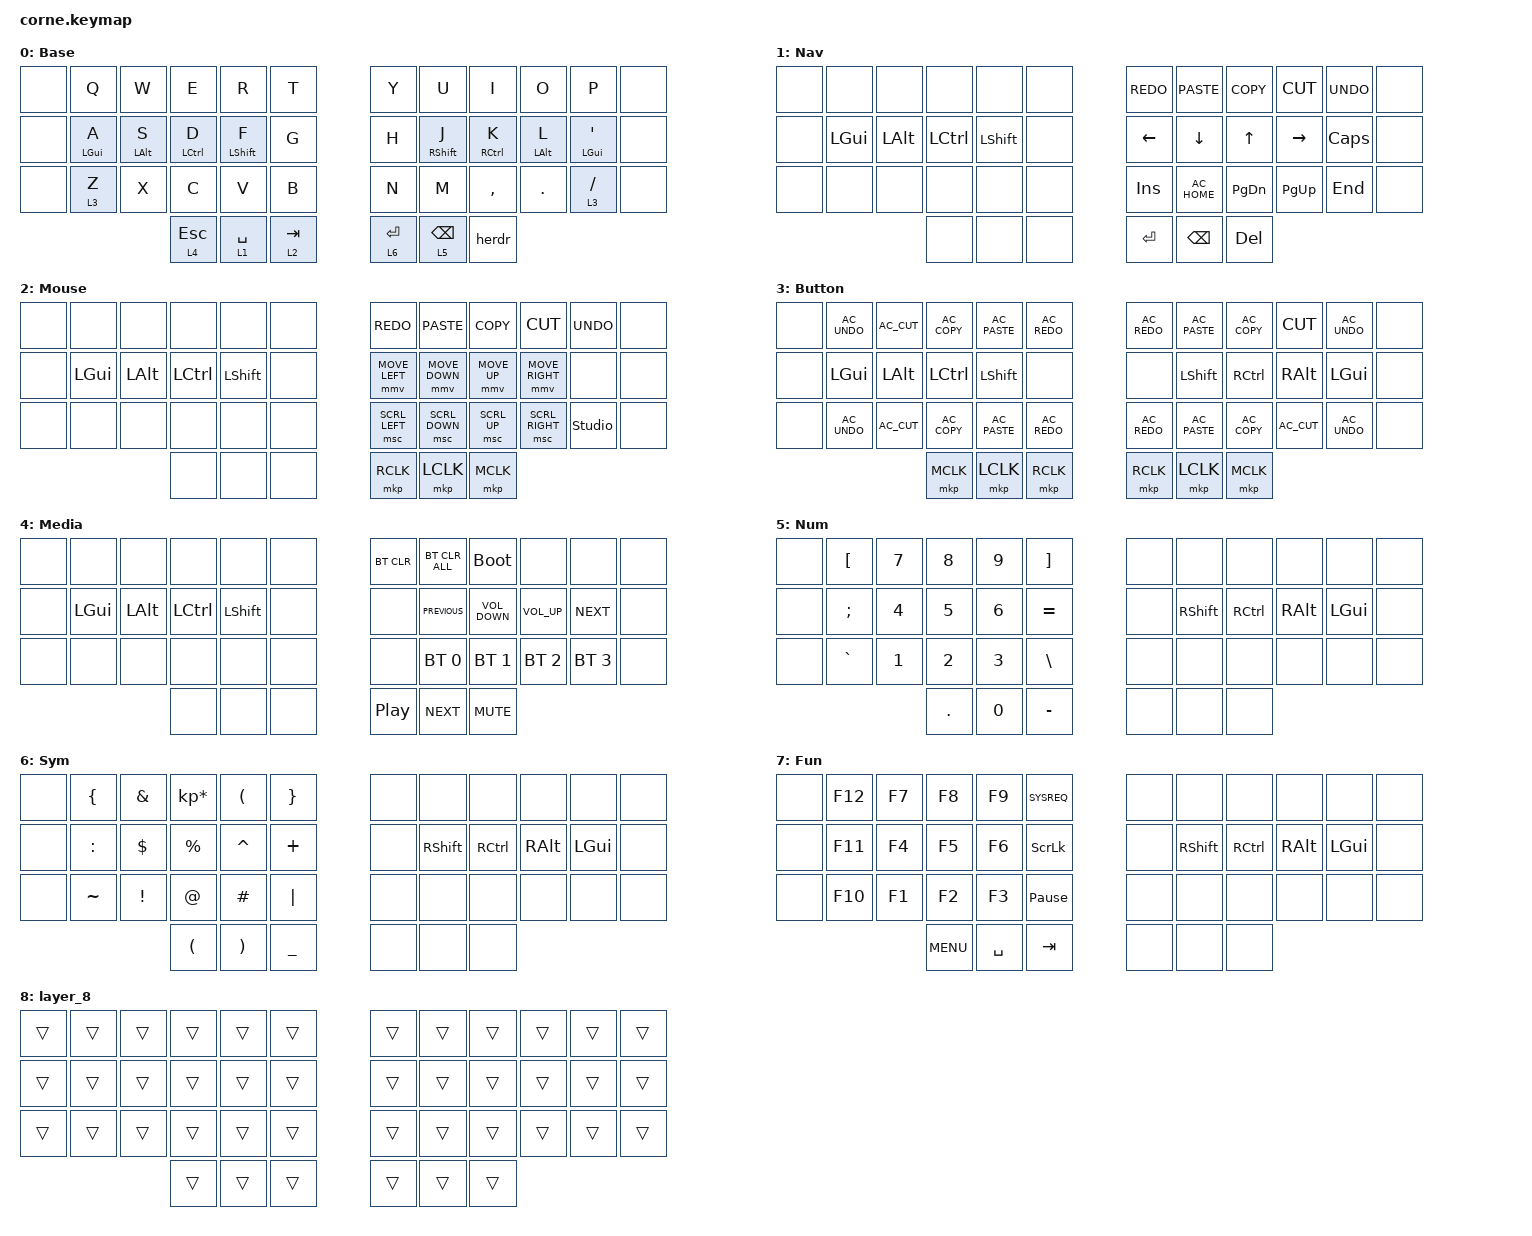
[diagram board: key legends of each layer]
/*
 * Copyright (c) 2020 The ZMK Contributors
 *
 * SPDX-License-Identifier: MIT
 */

#include <behaviors.dtsi>
#include <dt-bindings/zmk/bt.h>
#include <dt-bindings/zmk/keys.h>
#include <dt-bindings/zmk/pointing.h>

/ {
    behaviors {
        hml: homewrow_mods_left {
            compatible = "zmk,behavior-hold-tap";
            label = "HOMEROW_MODS_LEFT_HAND";
            bindings = <&kp>, <&kp>;

            #binding-cells = <2>;
            tapping-term-ms = <280>;
            hold-trigger-key-positions = <39 40 41 19 30 18 6 9 20 32 31 7 8 21 33 34 35 22 23 11 10>;
            flavor = "balanced";
            hold-trigger-on-release;
            quick-tap-ms = <175>;
            require-prior-idle-ms = <150>;
        };

        hmr: homewrow_mods_right {
            compatible = "zmk,behavior-hold-tap";
            label = "HOMEROW_MODS_RIGHT_HAND";
            bindings = <&kp>, <&kp>;

            #binding-cells = <2>;
            tapping-term-ms = <280>;
            hold-trigger-key-positions = <0 0 1 1 2 2 16 28 37 38 29 17 4 4 5 3 14 12 13 27 15 26 25 24 36>;
            flavor = "balanced";
            hold-trigger-on-release;
            quick-tap-ms = <175>;
            require-prior-idle-ms = <150>;
        };

        herdr: herdr {
            compatible = "zmk,behavior-tap-dance";
            label = "HERDR";
            #binding-cells = <0>;
            tapping-term-ms = <200>;
            bindings = <&lt 7 DEL>, <&kp LC(SPACE)>;
        };
    };

    combos {
        compatible = "zmk,combos";

        vm_prefix {
            bindings = <&kp LC(B)>;
            key-positions = <41 34>;
        };
    };

    keymap {
        compatible = "zmk,keymap";

        base_layer {
            // -----------------------------------------------------------------------------------------
            // |  TAB |  Q  |  W  |  E  |  R  |  T  |   |  Y  |  U   |  I  |  O  |  P  | BKSP |
            // | CTRL |  A  |  S  |  D  |  F  |  G  |   |  H  |  J   |  K  |  L  |  ;  |  '   |
            // | SHFT |  Z  |  X  |  C  |  V  |  B  |   |  N  |  M   |  ,  |  .  |  /  | ESC  |
            //                    | GUI | LWR | SPC |   | ENT | RSE  | ALT |

            bindings = <
&none  &kp Q        &kp W            &kp E         &kp R              &kp T        &kp Y        &kp U               &kp I         &kp O        &kp P          &none
&none  &hml LGUI A  &hml LEFT_ALT S  &hml LCTRL D  &hml LEFT_SHIFT F  &kp G        &kp H        &hmr RIGHT_SHIFT J  &hmr RCTRL K  &hmr LALT L  &hmr LGUI SQT  &none
&none  &lt 3 Z      &kp X            &kp C         &kp V              &kp B        &kp N        &kp M               &kp COMMA     &kp DOT      &lt 3 SLASH    &none
                                     &lt 4 ESC     &lt 1 SPACE        &lt 2 TAB    &lt 6 ENTER  &lt 5 BACKSPACE     &herdr
            >;

            label = "Base";
        };

        nav_layer {
            bindings = <
&none  &none     &none         &none      &none           &none    &kp K_REDO      &kp K_PASTE     &kp K_COPY     &kp K_CUT    &kp K_UNDO    &none
&none  &kp LGUI  &kp LEFT_ALT  &kp LCTRL  &kp LEFT_SHIFT  &none    &kp LEFT_ARROW  &kp DOWN_ARROW  &kp UP_ARROW   &kp RIGHT    &kp CAPSLOCK  &none
&none  &none     &none         &none      &none           &none    &kp INSERT      &kp C_AC_HOME   &kp PAGE_DOWN  &kp PAGE_UP  &kp END       &none
                               &none      &none           &none    &kp ENTER       &kp BACKSPACE   &kp DELETE
            >;

            label = "Nav";
        };

        mouse_layer {
            // -----------------------------------------------------------------------------------------
            // |  TAB |  1  |  2  |  3  |  4  |  5  |   |  6  |  7  |  8  |  9  |  0  | BKSP |
            // | BTCLR| BT1 | BT2 | BT3 | BT4 | BT5 |   | LFT | DWN |  UP | RGT |     |      |
            // | SHFT |     |     |     |     |     |   |     |     |     |     |     |      |
            //                    | GUI |     | SPC |   | ENT |     | ALT |

            bindings = <
&none  &none     &none         &none      &none           &none    &kp K_REDO      &kp K_PASTE     &kp K_COPY    &kp K_CUT        &kp K_UNDO      &none
&none  &kp LGUI  &kp LEFT_ALT  &kp LCTRL  &kp LEFT_SHIFT  &none    &mmv MOVE_LEFT  &mmv MOVE_DOWN  &mmv MOVE_UP  &mmv MOVE_RIGHT  &none           &none
&none  &none     &none         &none      &none           &none    &msc SCRL_LEFT  &msc SCRL_DOWN  &msc SCRL_UP  &msc SCRL_RIGHT  &studio_unlock  &none
                               &none      &none           &none    &mkp RCLK       &mkp LCLK       &mkp MCLK
            >;

            label = "Mouse";
        };

        button_layer {
            bindings = <
&none  &kp C_AC_UNDO  &kp C_AC_CUT  &kp C_AC_COPY  &kp C_AC_PASTE  &kp C_AC_REDO    &kp C_AC_REDO  &kp C_AC_PASTE  &kp C_AC_COPY      &kp K_CUT     &kp C_AC_UNDO  &none
&none  &kp LGUI       &kp LALT      &kp LCTRL      &kp LSHFT       &none            &none          &kp LSHFT       &kp RIGHT_CONTROL  &kp RALT      &kp LGUI       &none
&none  &kp C_AC_UNDO  &kp C_AC_CUT  &kp C_AC_COPY  &kp C_AC_PASTE  &kp C_AC_REDO    &kp C_AC_REDO  &kp C_AC_PASTE  &kp C_AC_COPY      &kp C_AC_CUT  &kp C_AC_UNDO  &none
                                    &mkp MCLK      &mkp LCLK       &mkp RCLK        &mkp RCLK      &mkp LCLK       &mkp MCLK
            >;

            label = "Button";
        };

        media_layer {
            // -----------------------------------------------------------------------------------------
            // |  TAB |  !  |  @  |  #  |  $  |  %  |   |  ^  |  &  |  *  |  (  |  )  | BKSP |
            // | CTRL |     |     |     |     |     |   |  -  |  =  |  [  |  ]  |  \  |  `   |
            // | SHFT |     |     |     |     |     |   |  _  |  +  |  {  |  }  | "|" |  ~   |
            //                    | GUI |     | SPC |   | ENT |     | ALT |

            bindings = <
&none  &none     &none         &none      &none           &none    &bt BT_CLR        &bt BT_CLR_ALL  &bootloader        &none            &none         &none
&none  &kp LGUI  &kp LEFT_ALT  &kp LCTRL  &kp LEFT_SHIFT  &none    &none             &kp C_PREVIOUS  &kp C_VOLUME_DOWN  &kp C_VOLUME_UP  &kp C_NEXT    &none
&none  &none     &none         &none      &none           &none    &none             &bt BT_SEL 0    &bt BT_SEL 1       &bt BT_SEL 2     &bt BT_SEL 3  &none
                               &none      &none           &none    &kp C_PLAY_PAUSE  &kp C_NEXT      &kp K_MUTE
            >;

            label = "Media";
        };

        num_layer {
            bindings = <
&none  &kp LBKT   &kp N7  &kp N8   &kp N9  &kp RIGHT_BRACKET    &none  &none            &none      &none          &none     &none
&none  &kp SEMI   &kp N4  &kp N5   &kp N6  &kp EQUAL            &none  &kp RIGHT_SHIFT  &kp RCTRL  &kp RIGHT_ALT  &kp LGUI  &none
&none  &kp GRAVE  &kp N1  &kp N2   &kp N3  &kp BACKSLASH        &none  &none            &none      &none          &none     &none
                          &kp DOT  &kp N0  &kp MINUS            &none  &none            &none
            >;

            label = "Num";
        };

        sym_layer {
            bindings = <
&none  &kp LEFT_BRACE  &kp AMPERSAND    &kp KP_MULTIPLY       &kp LEFT_PARENTHESIS   &kp RIGHT_BRACE    &none  &none            &none      &none          &none     &none
&none  &kp COLON       &kp DOLLAR       &kp PERCENT           &kp CARET              &kp PLUS           &none  &kp RIGHT_SHIFT  &kp RCTRL  &kp RIGHT_ALT  &kp LGUI  &none
&none  &kp TILDE       &kp EXCLAMATION  &kp AT_SIGN           &kp HASH               &kp PIPE           &none  &none            &none      &none          &none     &none
                                        &kp LEFT_PARENTHESIS  &kp RIGHT_PARENTHESIS  &kp UNDERSCORE     &none  &none            &none
            >;

            label = "Sym";
        };

        fun_layer {
            bindings = <
&none  &kp F12  &kp F7  &kp F8      &kp F9     &kp SYSREQ         &none  &none            &none      &none          &none     &none
&none  &kp F11  &kp F4  &kp F5      &kp F6     &kp SCROLLLOCK     &none  &kp RIGHT_SHIFT  &kp RCTRL  &kp RIGHT_ALT  &kp LGUI  &none
&none  &kp F10  &kp F1  &kp F2      &kp F3     &kp PAUSE_BREAK    &none  &none            &none      &none          &none     &none
                        &kp C_MENU  &kp SPACE  &kp TAB            &none  &none            &none
            >;

            label = "Fun";
        };

        layer_8 {
            bindings = <
&trans  &trans  &trans  &trans  &trans  &trans    &trans  &trans  &trans  &trans  &trans  &trans
&trans  &trans  &trans  &trans  &trans  &trans    &trans  &trans  &trans  &trans  &trans  &trans
&trans  &trans  &trans  &trans  &trans  &trans    &trans  &trans  &trans  &trans  &trans  &trans
                        &trans  &trans  &trans    &trans  &trans  &trans
            >;
        };
    };
};
